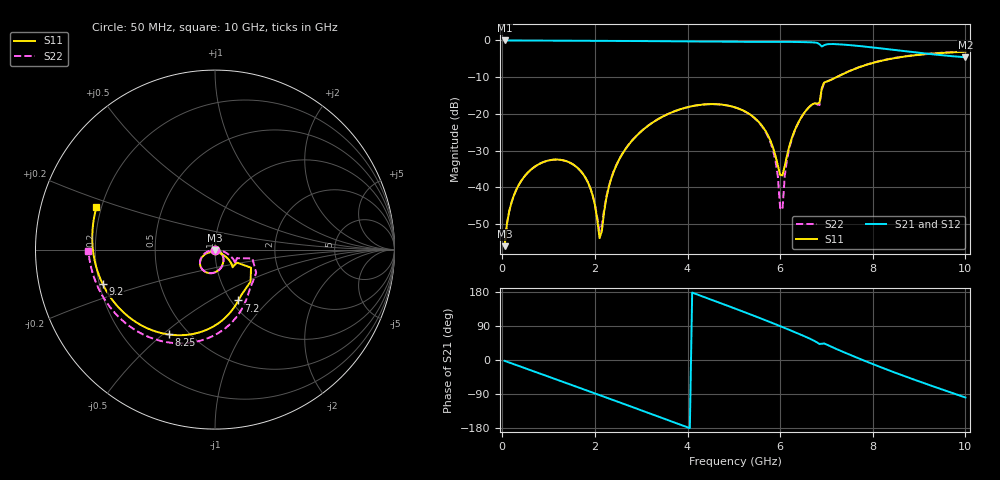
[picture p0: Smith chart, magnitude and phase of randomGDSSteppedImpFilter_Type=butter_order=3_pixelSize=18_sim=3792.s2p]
! freq	dB(S11)	phase(S11)	dB(S12)	phase(S12)
!  dB(S21)	phase(S21)	dB(S22)	phase(S22)
!S-par simulation data
#  GHz  S  DB  R 50
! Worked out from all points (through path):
!   200 points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, 50 MHz to 10 GHz, reference 50 ohm
!   highest |S21| = 0.00 dB at 50 MHz (marker M1); lowest = -4.6 dB at 10 GHz (marker M2)
!   group delay of S21, straight-line fit = 129 ps
!   lowest |S11| = -56.1 dB at 50 MHz (marker M3), VSWR 1.00, Z = 50 - j0.156 ohm
!   |S11| at or under -10 dB: start of sweep to 7.219 GHz
!   |S22| runs from -55.8 to -3.0 dB; largest |S21 - S12| = 0
!   S11 on the Smith chart (normalised r, x): 50 MHz: 1.00, -0.00; 7.2 GHz: 1.08, -0.68; 8.25 GHz: 0.39, -0.52; 9.2 GHz: 0.21, -0.14; 10 GHz: 0.18, +0.17
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0.05  -56.07 -82.9  -0.00 -2.2  -0.00 -2.2  -55.85 -84.0
0.2  -44.11 -96.3  -0.01 -8.9  -0.01 -8.9  -44.12 -96.3
0.6  -35.42 -117.3  -0.03 -26.4  -0.03 -26.4  -35.43 -117.3
1.2  -32.47 -145.6  -0.06 -52.8  -0.06 -52.8  -32.48 -145.8
1.75  -36.51 -173.4  -0.08 -77.1  -0.08 -77.1  -36.52 -174.6
1.95  -42.18 171.1  -0.09 -85.9  -0.09 -85.9  -42.13 168.0
2.1  -53.89 109.5  -0.10 -92.6  -0.10 -92.6  -52.04 103.8
2.3  -39.96 -1.2  -0.11 -101.4  -0.11 -101.4  -39.76 2.8
2.5  -33.05 -15.8  -0.13 -110.3  -0.13 -110.3  -32.98 -13.4
3.4  -21.18 -59.6  -0.22 -150.7  -0.22 -150.7  -21.17 -58.1
4.2  -17.68 -95.5  -0.32 173.3  -0.32 173.3  -17.68 -94.3
5.05  -18.33 -132.6  -0.38 134.7  -0.38 134.7  -18.35 -132.4
5.75  -26.19 -155.4  -0.37 101.6  -0.37 101.6  -26.53 -163.6
6.05  -36.78 -79.1  -0.38 86.9  -0.38 86.9  -46.11 -24.7
6.1  -34.17 -53.4  -0.38 84.4  -0.38 84.4  -36.86 -9.7
6.25  -26.68 -33.3  -0.40 76.9  -0.40 76.9  -26.97 -12.3
6.7  -17.38 -44.1  -0.53 52.9  -0.53 52.9  -17.40 -33.6
7.2  -10.12 -65.3  -1.01 29.8  -1.01 29.8  -10.09 -54.2
8.25  -5.37 -118.7  -2.28 -22.7  -2.28 -22.7  -5.31 -106.5
8.35  -5.11 -123.5  -2.43 -27.3  -2.43 -27.3  -5.05 -111.0
9.2  -3.68 -163.1  -3.66 -65.1  -3.66 -65.1  -3.62 -147.4
10  -3.08 160.3  -4.59 -98.9  -4.59 -98.9  -3.03 -179.5
